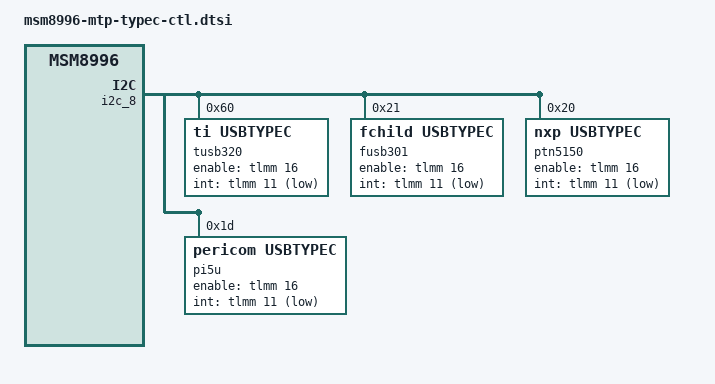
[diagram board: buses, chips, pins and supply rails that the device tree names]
/* Copyright (c) 2015, The Linux Foundation. All rights reserved.
 *
 * This program is free software; you can redistribute it and/or modify
 * it under the terms of the GNU General Public License version 2 and
 * only version 2 as published by the Free Software Foundation.
 *
 * This program is distributed in the hope that it will be useful,
 * but WITHOUT ANY WARRANTY; without even the implied warranty of
 * MERCHANTABILITY or FITNESS FOR A PARTICULAR PURPOSE.  See the
 * GNU General Public License for more details.
 */

&i2c_8 { /* BLSP2 QUP2 */
	tusb320@60 {
		compatible = "ti,usbtypec";
		reg = <0x60>;
		pinctrl-names = "ti_pin_active","ti_pin_suspend";
		pinctrl-0 = <&ti_enable_active &ti_int_active>;
		pinctrl-1 = <&ti_enable_suspend &ti_int_suspend>;
		ti,enable-gpio = <&tlmm 16 0x00>;
		ti,int-gpio = <&tlmm 11 0x01>;
	};
	fusb301@21 {
		compatible = "fchild,usbtypec";
		reg = <0x21>;
		pinctrl-names = "fchild_pin_active","fchild_pin_suspend";
		pinctrl-0 = <&fchild_enable_active &fchild_int_active>;
		pinctrl-1 = <&fchild_enable_suspend &fchild_int_suspend>;
		fchild,enable-gpio = <&tlmm 16 0x00>;
		fchild,int-gpio = <&tlmm 11 0x01>;
	};
	ptn5150@20 {
		compatible = "nxp,usbtypec";
		reg = <0x20>;
		pinctrl-names = "nxp_pin_active","nxp_pin_suspend";
		pinctrl-0 = <&nxp_enable_active &nxp_int_active>;
		pinctrl-1 = <&nxp_enable_suspend &nxp_int_suspend>;
		nxp,enable-gpio = <&tlmm 16 0x00>;
		nxp,int-gpio = <&tlmm 11 0x01>;
	};
	pi5u@1d {
		compatible = "pericom,usbtypec";
		reg = <0x1d>;
		pinctrl-names = "pericom_pin_active","pericom_pin_suspend";
		pinctrl-0 = <&pericom_enable_active &pericom_int_active>;
		pinctrl-1 = <&pericom_enable_suspend &pericom_int_suspend>;
		pericom,enable-gpio = <&tlmm 16 0x00>;
		pericom,int-gpio = <&tlmm 11 0x01>;
	};
};
